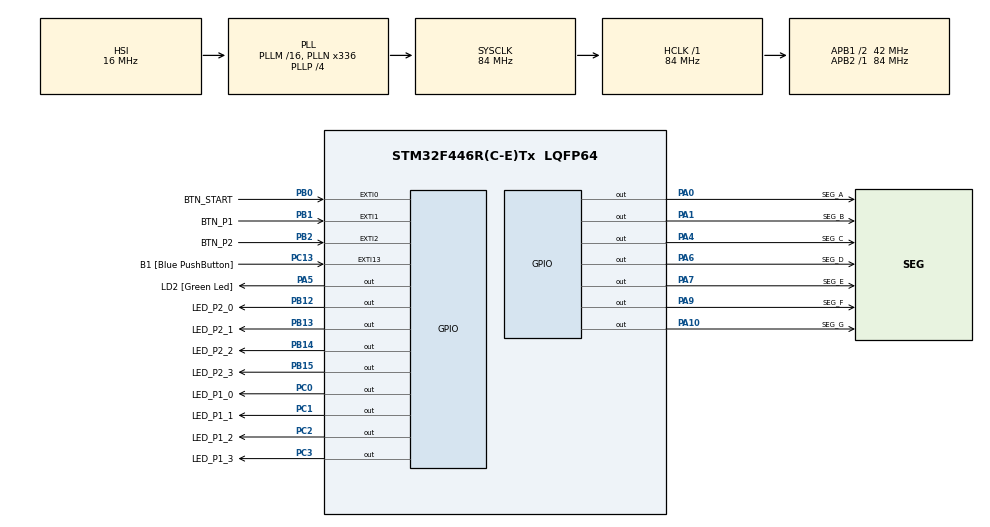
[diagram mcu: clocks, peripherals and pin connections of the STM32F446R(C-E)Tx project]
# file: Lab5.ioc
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Mcu.Family=STM32F4
Mcu.Name=STM32F446R(C-E)Tx
Mcu.Package=LQFP64
NVIC.EXTI0_IRQn=true\:0\:0\:false\:false\:true\:true\:true\:true
NVIC.EXTI1_IRQn=true\:0\:0\:false\:false\:true\:true\:true\:true
NVIC.EXTI2_IRQn=true\:0\:0\:false\:false\:true\:true\:true\:true
NVIC.PriorityGroup=NVIC_PRIORITYGROUP_0
PA0-WKUP.GPIO_Label=SEG_A
PA0-WKUP.Signal=GPIO_Output
PA1.GPIO_Label=SEG_B
PA1.Signal=GPIO_Output
PA10.GPIO_Label=SEG_G
PA10.Signal=GPIO_Output
PA13.GPIO_Label=TMS
PA13.Signal=SYS_JTMS-SWDIO
PA14.GPIO_Label=TCK
PA14.Signal=SYS_JTCK-SWCLK
PA2.GPIO_Label=USART_TX
PA2.Signal=USART2_TX
PA3.GPIO_Label=USART_RX
PA3.Signal=USART2_RX
PA4.GPIO_Label=SEG_C
PA4.Signal=GPIO_Output
PA5.GPIO_Label=LD2 [Green Led]
PA5.Signal=GPIO_Output
PA6.GPIO_Label=SEG_D
PA6.Signal=GPIO_Output
PA7.GPIO_Label=SEG_E
PA7.Signal=GPIO_Output
PA9.GPIO_Label=SEG_F
PA9.Signal=GPIO_Output
PB0.GPIO_Label=BTN_START
PB0.GPIO_PuPd=GPIO_PULLUP
PB0.Signal=GPXTI0
PB1.GPIO_Label=BTN_P1
PB1.GPIO_PuPd=GPIO_PULLUP
PB1.Signal=GPXTI1
PB12.GPIO_Label=LED_P2_0
PB12.Signal=GPIO_Output
PB13.GPIO_Label=LED_P2_1
PB13.Signal=GPIO_Output
PB14.GPIO_Label=LED_P2_2
PB14.Signal=GPIO_Output
PB15.GPIO_Label=LED_P2_3
PB15.Signal=GPIO_Output
PB2.GPIO_Label=BTN_P2
PB2.GPIO_PuPd=GPIO_PULLUP
PB2.Signal=GPXTI2
PB3.GPIO_Label=SWO
PB3.Signal=SYS_JTDO-SWO
PC0.GPIO_Label=LED_P1_0
PC0.Signal=GPIO_Output
PC1.GPIO_Label=LED_P1_1
PC1.Signal=GPIO_Output
PC13.GPIO_Label=B1 [Blue PushButton]
PC13.GPIO_ModeDefaultEXTI=GPIO_MODE_IT_FALLING
PC13.Signal=GPXTI13
PC14-OSC32_IN.Signal=RCC_OSC32_IN
PC15-OSC32_OUT.Signal=RCC_OSC32_OUT
PC2.GPIO_Label=LED_P1_2
PC2.Signal=GPIO_Output
PC3.GPIO_Label=LED_P1_3
PC3.Signal=GPIO_Output
PH0-OSC_IN.Signal=RCC_OSC_IN
PH1-OSC_OUT.Signal=RCC_OSC_OUT
ProjectManager.HeapSize=0x200
ProjectManager.StackSize=0x400
ProjectManager.TargetToolchain=STM32CubeIDE
RCC.AHBFreq_Value=84000000
RCC.APB1CLKDivider=RCC_HCLK_DIV2
RCC.APB1Freq_Value=42000000
RCC.APB1TimFreq_Value=84000000
RCC.APB2Freq_Value=84000000
RCC.APB2TimFreq_Value=84000000
RCC.CortexFreq_Value=84000000
RCC.FLatency-AdvancedSettings=FLASH_LATENCY_2
RCC.HCLKFreq_Value=84000000
RCC.HSE_VALUE=8000000
RCC.HSI_VALUE=16000000
RCC.LSE_VALUE=32768
RCC.PLLN=336
RCC.PLLP=RCC_PLLP_DIV4
RCC.SYSCLKFreq_VALUE=84000000
RCC.SYSCLKSource=RCC_SYSCLKSOURCE_PLLCLK
RCC.USBFreq_Value=168000000
RCC.VCOOutputFreq_Value=336000000
board=NUCLEO-F446RE

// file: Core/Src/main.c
/* USER CODE BEGIN Header */
//Fernando JOsé Guzman González
//24734
//Lab_Juego de Carreras 2.0 LEDS_DISPLAY_BOTON
/**
  ******************************************************************************
  * @file           : main.c
  * @brief          : Main program body
  ********************************----------------------------------------------
  * @attention
  *
  * Copyright (c) 2026 STMicroelectronics.
  * All rights reserved.
  *
  * This software is licensed under terms that can be found in the LICENSE file
  * in the root directory of this software component.
  * If no LICENSE file comes with this software, it is provided AS-IS.
  *
  ******************************************************************************
  */
/* USER CODE END Header */
#include "main.h"
#include "gpio.h"

/* USER CODE BEGIN PV */
// Definición de los estados del juego
typedef enum {
    STATE_IDLE,
    STATE_COUNTDOWN,
    STATE_PLAYING,
    STATE_FINISHED
} GameState;

volatile GameState game_state = STATE_IDLE; // Estado inicial del juego

// Contadores de posición secuencial (0 a 4) para cada jugador
volatile uint8_t p1_counter = 0;
volatile uint8_t p2_counter = 0;

// Variable de control del ganador (0: sin ganador, 1: Jugador 1, 2: Jugador 2)
volatile uint8_t winner = 0;

// Banderas de control para saber si se presionó el botón Start
volatile uint8_t start_pressed = 0;

// Tiempos para el anti-rebote (Debounce) por software de cada botón
volatile uint32_t last_btn_p1_time = 0;
volatile uint32_t last_btn_p2_time = 0;
volatile uint32_t last_btn_start_time = 0; // Guarda el tiempo del botón Start

const uint8_t WINNING_SCORE = 4; // Meta con esto se puede: completar las 4 posiciones secuenciales
/* USER CODE END PV */

void SystemClock_Config(void);
/* USER CODE BEGIN PFP */
void Display_WriteDigit(char digit);
void Update_P1_LEDs_Sequential(uint8_t value);
void Update_P2_LEDs_Sequential(uint8_t value);
void Set_P1_LEDs_All_ON(void);
void Set_P1_LEDs_All_OFF(void);
void Set_P2_LEDs_All_ON(void);
void Set_P2_LEDs_All_OFF(void);
/* USER CODE END PFP */

int main(void)
{

  /* MCU Configuration--------------------------------------------------------*/

  /* Reset of all peripherals, Initializes the Flash interface and the Systick. */
  HAL_Init();

  /* Configure the system clock */
  SystemClock_Config();

  /* Initialize all configured peripherals */
  MX_GPIO_Init();
  /* USER CODE BEGIN 2 */
  // Apagar LEDs y display de 7 segmentos al iniciar o resetear
  Set_P1_LEDs_All_OFF();
  Set_P2_LEDs_All_OFF();
  Display_WriteDigit(' ');
  /* USER CODE END 2 */

  /* Infinite loop */
    /* USER CODE BEGIN WHILE */
    while (1)
    {
        switch(game_state) {
            case STATE_IDLE:
                // Limpieza y preparación inicial del hardware
                p1_counter = 0;
                p2_counter = 0;
                winner = 0;
                Set_P1_LEDs_All_OFF();
                Set_P2_LEDs_All_OFF();
                Display_WriteDigit(' '); // Display apagado

                if (start_pressed) {
                    start_pressed = 0;
                    game_state = STATE_COUNTDOWN; // Transición a la cuenta regresiva
                }
                break;

            case STATE_COUNTDOWN:
                // Muestra la cuenta regresiva de 5 a 0 (1 segundo por paso)
                Display_WriteDigit('5');
                HAL_Delay(1000);
                Display_WriteDigit('4');
                HAL_Delay(1000);
                Display_WriteDigit('3');
                HAL_Delay(1000);
                Display_WriteDigit('2');
                HAL_Delay(1000);
                Display_WriteDigit('1');
                HAL_Delay(1000);
                Display_WriteDigit('0');
                HAL_Delay(1000);
                Display_WriteDigit(' '); // Apagar display al dar la salida

                // Aseguramos limpiar contadores de los jugadores tras la espera
                p1_counter = 0;
                p2_counter = 0;

                game_state = STATE_PLAYING; // Iniciar la carrera (desbloquea botones)
                break;

            case STATE_PLAYING:
                // Carrera en curso: Actualiza los LEDs secuenciales de cada jugador
                Update_P1_LEDs_Sequential(p1_counter);
                Update_P2_LEDs_Sequential(p2_counter);

                // Evalúa si algún jugador llegó al LED 4 (Meta)
                if (p1_counter >= WINNING_SCORE) {
                    winner = 1;
                    game_state = STATE_FINISHED;
                } else if (p2_counter >= WINNING_SCORE) {
                    winner = 2;
                    game_state = STATE_FINISHED;
                }
                break;

            case STATE_FINISHED:
                // Muestra de forma fija al ganador en LEDs y en el display de 7 segmentos
                if (winner == 1) {
                    Set_P1_LEDs_All_ON();    // Enciende la fila del ganador
                    Set_P2_LEDs_All_OFF();   // Apaga la fila del oponente
                    Display_WriteDigit('1');
                }
                else if (winner == 2) {
                    Set_P1_LEDs_All_OFF();   // Apaga la fila del oponente
                    Set_P2_LEDs_All_ON();    // Enciende la fila del ganador
                    Display_WriteDigit('2');
                }

                // Si se presiona el botón START de nuevo, se reinicia el flujo del juego
                if (start_pressed) {
                    start_pressed = 0;
                    game_state = STATE_IDLE;
                }
                break;
        }
        HAL_Delay(10); // Estabilización del reloj principal
      /* USER CODE END WHILE */

    }

}

void SystemClock_Config(void)
{
  RCC_OscInitTypeDef RCC_OscInitStruct = {0};
  RCC_ClkInitTypeDef RCC_ClkInitStruct = {0};

  /** Configure the main internal regulator output voltage
  */
  __HAL_RCC_PWR_CLK_ENABLE();
  __HAL_PWR_VOLTAGESCALING_CONFIG(PWR_REGULATOR_VOLTAGE_SCALE3);

  /** Initializes the RCC Oscillators according to the specified parameters
  * in the RCC_OscInitTypeDef structure.
  */
  RCC_OscInitStruct.OscillatorType = RCC_OSCILLATORTYPE_HSI;
  RCC_OscInitStruct.HSIState = RCC_HSI_ON;
  RCC_OscInitStruct.HSICalibrationValue = RCC_HSICALIBRATION_DEFAULT;
  RCC_OscInitStruct.PLL.PLLState = RCC_PLL_ON;
  RCC_OscInitStruct.PLL.PLLSource = RCC_PLLSOURCE_HSI;
  RCC_OscInitStruct.PLL.PLLM = 16;
  RCC_OscInitStruct.PLL.PLLN = 336;
  RCC_OscInitStruct.PLL.PLLP = RCC_PLLP_DIV4;
  RCC_OscInitStruct.PLL.PLLQ = 2;
  RCC_OscInitStruct.PLL.PLLR = 2;
  if (HAL_RCC_OscConfig(&RCC_OscInitStruct) != HAL_OK)
  {
    Error_Handler();
  }

  /** Initializes the CPU, AHB and APB buses clocks
  */
  RCC_ClkInitStruct.ClockType = RCC_CLOCKTYPE_HCLK|RCC_CLOCKTYPE_SYSCLK
                              |RCC_CLOCKTYPE_PCLK1|RCC_CLOCKTYPE_PCLK2;
  RCC_ClkInitStruct.SYSCLKSource = RCC_SYSCLKSOURCE_PLLCLK;
  RCC_ClkInitStruct.AHBCLKDivider = RCC_SYSCLK_DIV1;
  RCC_ClkInitStruct.APB1CLKDivider = RCC_HCLK_DIV2;
  RCC_ClkInitStruct.APB2CLKDivider = RCC_HCLK_DIV1;

  if (HAL_RCC_ClockConfig(&RCC_ClkInitStruct, FLASH_LATENCY_2) != HAL_OK)
  {
    Error_Handler();
  }
}

/* USER CODE BEGIN 4 */
// Callback para procesar las interrupciones físicas de los botones
void HAL_GPIO_EXTI_Callback(uint16_t GPIO_Pin) {
    uint32_t current_time = HAL_GetTick();

    // 1. Interrupción del Botón de Inicio / Start (PB0)
    if (GPIO_Pin == BTN_START_Pin) {
        if (current_time - last_btn_start_time > 250) { // Anti-rebote de 250ms
            last_btn_start_time = current_time;
            // Solo permitimos activar el inicio en espera (IDLE) o al finalizar una partida
            if (game_state == STATE_IDLE || game_state == STATE_FINISHED) {
                start_pressed = 1;
            }
        }
    }
    // 2. Botón del Jugador 1 - Solo incrementa si la carrera está activa (STATE_PLAYING)
    else if (GPIO_Pin == BTN_P1_Pin) {
        if (game_state == STATE_PLAYING) {
            if (current_time - last_btn_p1_time > 150) { // Anti-rebote de 150ms
                last_btn_p1_time = current_time;
                if (p1_counter < WINNING_SCORE) {
                    p1_counter++;
                }
            }
        }
    }
    // 3. Botón del Jugador 2 - Solo incrementa si la carrera está activa (STATE_PLAYING)
    else if (GPIO_Pin == BTN_P2_Pin) {
        if (game_state == STATE_PLAYING) {
            if (current_time - last_btn_p2_time > 150) { // Anti-rebote de 150ms
                last_btn_p2_time = current_time;
                if (p2_counter < WINNING_SCORE) {
                    p2_counter++;
                }
            }
        }
    }
}

// Actualización secuencial del Jugador 1: enciende únicamente el LED activo
void Update_P1_LEDs_Sequential(uint8_t value) {
    HAL_GPIO_WritePin(GPIOC, LED_P1_0_Pin, (value == 1) ? GPIO_PIN_SET : GPIO_PIN_RESET);
    HAL_GPIO_WritePin(GPIOC, LED_P1_1_Pin, (value == 2) ? GPIO_PIN_SET : GPIO_PIN_RESET);
    HAL_GPIO_WritePin(GPIOC, LED_P1_2_Pin, (value == 3) ? GPIO_PIN_SET : GPIO_PIN_RESET);
    HAL_GPIO_WritePin(GPIOC, LED_P1_3_Pin, (value == 4) ? GPIO_PIN_SET : GPIO_PIN_RESET);
}

// Actualización secuencial del Jugador 2: enciende únicamente el LED activo
void Update_P2_LEDs_Sequential(uint8_t value) {
    HAL_GPIO_WritePin(GPIOB, LED_P2_0_Pin, (value == 1) ? GPIO_PIN_SET : GPIO_PIN_RESET);
    HAL_GPIO_WritePin(GPIOB, LED_P2_1_Pin, (value == 2) ? GPIO_PIN_SET : GPIO_PIN_RESET);
    HAL_GPIO_WritePin(GPIOB, LED_P2_2_Pin, (value == 3) ? GPIO_PIN_SET : GPIO_PIN_RESET);
    HAL_GPIO_WritePin(GPIOB, LED_P2_3_Pin, (value == 4) ? GPIO_PIN_SET : GPIO_PIN_RESET);
}

// Funciones auxiliares para encender/apagar todos los LEDs de cada puerto
void Set_P1_LEDs_All_ON(void) {
    HAL_GPIO_WritePin(GPIOC, LED_P1_0_Pin|LED_P1_1_Pin|LED_P1_2_Pin|LED_P1_3_Pin, GPIO_PIN_SET);
}

void Set_P1_LEDs_All_OFF(void) {
    HAL_GPIO_WritePin(GPIOC, LED_P1_0_Pin|LED_P1_1_Pin|LED_P1_2_Pin|LED_P1_3_Pin, GPIO_PIN_RESET);
}

void Set_P2_LEDs_All_ON(void) {
    HAL_GPIO_WritePin(GPIOB, LED_P2_0_Pin|LED_P2_1_Pin|LED_P2_2_Pin|LED_P2_3_Pin, GPIO_PIN_SET);
}

void Set_P2_LEDs_All_OFF(void) {
    HAL_GPIO_WritePin(GPIOB, LED_P2_0_Pin|LED_P2_1_Pin|LED_P2_2_Pin|LED_P2_3_Pin, GPIO_PIN_RESET);
}

// Control del Display de 7 Segmentos (Cátodo Común)
void Display_WriteDigit(char digit) {
    // Apaga todos los segmentos (Pone los pines a 0V)
    HAL_GPIO_WritePin(GPIOA, SEG_A_Pin|SEG_B_Pin|SEG_C_Pin|SEG_D_Pin|SEG_E_Pin|SEG_F_Pin|SEG_G_Pin, GPIO_PIN_RESET);

    switch(digit) {
        case '0':
            HAL_GPIO_WritePin(GPIOA, SEG_A_Pin|SEG_B_Pin|SEG_C_Pin|SEG_D_Pin|SEG_E_Pin|SEG_F_Pin, GPIO_PIN_SET);
            break;
        case '1':
            HAL_GPIO_WritePin(GPIOA, SEG_B_Pin|SEG_C_Pin, GPIO_PIN_SET);
            break;
        case '2':
            HAL_GPIO_WritePin(GPIOA, SEG_A_Pin|SEG_B_Pin|SEG_G_Pin|SEG_E_Pin|SEG_D_Pin, GPIO_PIN_SET);
            break;
        case '3':
            HAL_GPIO_WritePin(GPIOA, SEG_A_Pin|SEG_B_Pin|SEG_C_Pin|SEG_D_Pin|SEG_G_Pin, GPIO_PIN_SET);
            break;
        case '4':
            HAL_GPIO_WritePin(GPIOA, SEG_B_Pin|SEG_C_Pin|SEG_F_Pin|SEG_G_Pin, GPIO_PIN_SET);
            break;
        case '5':
            HAL_GPIO_WritePin(GPIOA, SEG_A_Pin|SEG_C_Pin|SEG_D_Pin|SEG_F_Pin|SEG_G_Pin, GPIO_PIN_SET);
            break;
        default:
            break;
    }
}
/* USER CODE END 4 */

void Error_Handler(void)
{
  __disable_irq();
  while (1)
  {
  }
}
